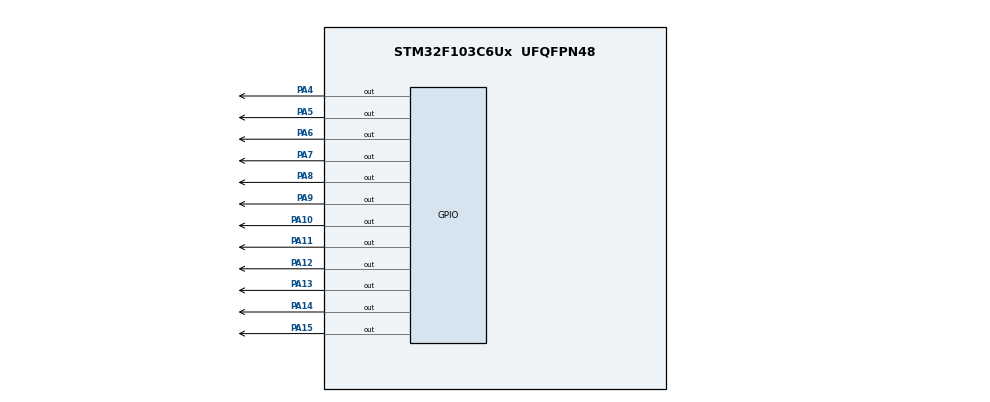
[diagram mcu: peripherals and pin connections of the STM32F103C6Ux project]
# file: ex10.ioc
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Mcu.Family=STM32F1
Mcu.Name=STM32F103C6Ux
Mcu.Package=UFQFPN48
NVIC.PriorityGroup=NVIC_PRIORITYGROUP_4
PA10.Signal=GPIO_Output
PA11.Signal=GPIO_Output
PA12.Signal=GPIO_Output
PA13.Signal=GPIO_Output
PA14.Signal=GPIO_Output
PA15.Signal=GPIO_Output
PA4.Signal=GPIO_Output
PA5.Signal=GPIO_Output
PA6.Signal=GPIO_Output
PA7.Signal=GPIO_Output
PA8.Signal=GPIO_Output
PA9.Signal=GPIO_Output
ProjectManager.HeapSize=0x200
ProjectManager.StackSize=0x400
ProjectManager.TargetToolchain=STM32CubeIDE
RCC.APB1Freq_Value=8000000
RCC.APB2Freq_Value=8000000
board=custom

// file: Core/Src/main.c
/* USER CODE BEGIN Header */
/**
  ******************************************************************************
  * @file           : main.c
  * @brief          : Main program body
  ******************************************************************************
  * @attention
  *
  * Copyright (c) 2022 STMicroelectronics.
  * All rights reserved.
  *
  * This software is licensed under terms that can be found in the LICENSE file
  * in the root directory of this software component.
  * If no LICENSE file comes with this software, it is provided AS-IS.
  *
  ******************************************************************************
  */
/* USER CODE END Header */
#include "main.h"

void SystemClock_Config(void);
static void MX_GPIO_Init(void);

/* USER CODE BEGIN 0 */
int HOUR = 0, MIN = 0, SEC = 0;
void ClearAllClock(void){
	HAL_GPIO_WritePin(GPIOA,GPIO_PIN_4|GPIO_PIN_5|GPIO_PIN_6|GPIO_PIN_7
            |GPIO_PIN_8|GPIO_PIN_9|GPIO_PIN_10|GPIO_PIN_11
            |GPIO_PIN_12|GPIO_PIN_13|GPIO_PIN_14|GPIO_PIN_15, SET);
}

void SetNumberClock(int num){
	switch (num){
	case 0:
		HAL_GPIO_WritePin(GPIOA, GPIO_PIN_15, RESET);
		break;
	case 1:
		HAL_GPIO_WritePin(GPIOA, GPIO_PIN_4, RESET);
		break;
	case 2:
		HAL_GPIO_WritePin(GPIOA, GPIO_PIN_5, RESET);
		break;
	case 3:
		HAL_GPIO_WritePin(GPIOA, GPIO_PIN_6, RESET);
		break;
	case 4:
		HAL_GPIO_WritePin(GPIOA, GPIO_PIN_7, RESET);
		break;
	case 5:
		HAL_GPIO_WritePin(GPIOA, GPIO_PIN_8, RESET);
		break;
	case 6:
		HAL_GPIO_WritePin(GPIOA, GPIO_PIN_9, RESET);
		break;
	case 7:
		HAL_GPIO_WritePin(GPIOA, GPIO_PIN_10, RESET);
		break;
	case 8:
		HAL_GPIO_WritePin(GPIOA, GPIO_PIN_11, RESET);
		break;
	case 9:
		HAL_GPIO_WritePin(GPIOA, GPIO_PIN_12, RESET);
		break;
	case 10:
		HAL_GPIO_WritePin(GPIOA, GPIO_PIN_13, RESET);
		break;
	case 11:
		HAL_GPIO_WritePin(GPIOA, GPIO_PIN_14, RESET);
		break;

	default:{break;}

	}
}

void clearNumberClock(int num){
switch(num){

	case 0 :

		HAL_GPIO_WritePin (GPIOA , GPIO_PIN_15 , GPIO_PIN_SET );
		HAL_Delay(1000);
	break;

	case 1 :
		HAL_GPIO_WritePin (GPIOA , GPIO_PIN_4 , GPIO_PIN_SET );
		HAL_Delay(1000);
	break;

	case 2 :
		HAL_GPIO_WritePin (GPIOA , GPIO_PIN_5 , GPIO_PIN_SET );
		HAL_Delay(1000);
	break;

	case 3 :
		HAL_GPIO_WritePin (GPIOA , GPIO_PIN_6 , GPIO_PIN_SET );
		HAL_Delay(1000);
	break;

	case 4 :
		HAL_GPIO_WritePin (GPIOA , GPIO_PIN_7 , GPIO_PIN_SET );
		HAL_Delay(1000);
	break;

	case 5 :
		HAL_GPIO_WritePin (GPIOA , GPIO_PIN_8 , GPIO_PIN_SET );
		HAL_Delay(1000);
	break;

	case 6 :
		HAL_GPIO_WritePin (GPIOA , GPIO_PIN_9 , GPIO_PIN_SET );
		HAL_Delay(1000);
	break;

	case 7 :
		HAL_GPIO_WritePin (GPIOA , GPIO_PIN_10, GPIO_PIN_SET );
		HAL_Delay(1000);
	break;

	case 8 :
		HAL_GPIO_WritePin (GPIOA , GPIO_PIN_11, GPIO_PIN_SET );
		HAL_Delay(1000);
	break;

	case 9 :
		HAL_GPIO_WritePin (GPIOA , GPIO_PIN_12, GPIO_PIN_SET );
		HAL_Delay(1000);
	break;

	case 10:
		HAL_GPIO_WritePin (GPIOA , GPIO_PIN_13 , GPIO_PIN_SET );
		HAL_Delay(1000);
	break;

	case 11 :
		HAL_GPIO_WritePin (GPIOA , GPIO_PIN_14, GPIO_PIN_SET );
		HAL_Delay(1000);
	break;

	default:{break;}
}
}
/* USER CODE END 0 */

int main(void)
{

  /* MCU Configuration--------------------------------------------------------*/

  /* Reset of all peripherals, Initializes the Flash interface and the Systick. */
  HAL_Init();

  /* Configure the system clock */
  SystemClock_Config();

  /* Initialize all configured peripherals */
  MX_GPIO_Init();

  /* Infinite loop */
  while (1)
  {
	  ClearAllClock();
	  SetNumberClock(HOUR);
	  SetNumberClock(MIN);
	  SetNumberClock(SEC);

	  SEC++;
	  if(SEC>11){
		  SEC=0;
		  MIN++;

	  }
	  if(MIN>11){
		  MIN=0;
		  HOUR++;
	  }
	  if(HOUR>11){
		  HOUR=0;
	  }
	  HAL_Delay(1000);
  }
}

void SystemClock_Config(void)
{
  RCC_OscInitTypeDef RCC_OscInitStruct = {0};
  RCC_ClkInitTypeDef RCC_ClkInitStruct = {0};

  /** Initializes the RCC Oscillators according to the specified parameters
  * in the RCC_OscInitTypeDef structure.
  */
  RCC_OscInitStruct.OscillatorType = RCC_OSCILLATORTYPE_HSI;
  RCC_OscInitStruct.HSIState = RCC_HSI_ON;
  RCC_OscInitStruct.HSICalibrationValue = RCC_HSICALIBRATION_DEFAULT;
  RCC_OscInitStruct.PLL.PLLState = RCC_PLL_NONE;
  if (HAL_RCC_OscConfig(&RCC_OscInitStruct) != HAL_OK)
  {
    Error_Handler();
  }

  /** Initializes the CPU, AHB and APB buses clocks
  */
  RCC_ClkInitStruct.ClockType = RCC_CLOCKTYPE_HCLK|RCC_CLOCKTYPE_SYSCLK
                              |RCC_CLOCKTYPE_PCLK1|RCC_CLOCKTYPE_PCLK2;
  RCC_ClkInitStruct.SYSCLKSource = RCC_SYSCLKSOURCE_HSI;
  RCC_ClkInitStruct.AHBCLKDivider = RCC_SYSCLK_DIV1;
  RCC_ClkInitStruct.APB1CLKDivider = RCC_HCLK_DIV1;
  RCC_ClkInitStruct.APB2CLKDivider = RCC_HCLK_DIV1;

  if (HAL_RCC_ClockConfig(&RCC_ClkInitStruct, FLASH_LATENCY_0) != HAL_OK)
  {
    Error_Handler();
  }
}

static void MX_GPIO_Init(void)
{
  GPIO_InitTypeDef GPIO_InitStruct = {0};

  /* GPIO Ports Clock Enable */
  __HAL_RCC_GPIOA_CLK_ENABLE();

  /*Configure GPIO pin Output Level */
  HAL_GPIO_WritePin(GPIOA, GPIO_PIN_4|GPIO_PIN_5|GPIO_PIN_6|GPIO_PIN_7
                          |GPIO_PIN_8|GPIO_PIN_9|GPIO_PIN_10|GPIO_PIN_11
                          |GPIO_PIN_12|GPIO_PIN_13|GPIO_PIN_14|GPIO_PIN_15, GPIO_PIN_RESET);

  /*Configure GPIO pins : PA4 PA5 PA6 PA7
                           PA8 PA9 PA10 PA11
                           PA12 PA13 PA14 PA15 */
  GPIO_InitStruct.Pin = GPIO_PIN_4|GPIO_PIN_5|GPIO_PIN_6|GPIO_PIN_7
                          |GPIO_PIN_8|GPIO_PIN_9|GPIO_PIN_10|GPIO_PIN_11
                          |GPIO_PIN_12|GPIO_PIN_13|GPIO_PIN_14|GPIO_PIN_15;
  GPIO_InitStruct.Mode = GPIO_MODE_OUTPUT_PP;
  GPIO_InitStruct.Pull = GPIO_NOPULL;
  GPIO_InitStruct.Speed = GPIO_SPEED_FREQ_LOW;
  HAL_GPIO_Init(GPIOA, &GPIO_InitStruct);

}

void Error_Handler(void)
{
  __disable_irq();
  while (1)
  {
  }
}
